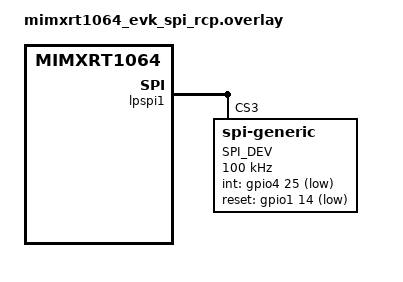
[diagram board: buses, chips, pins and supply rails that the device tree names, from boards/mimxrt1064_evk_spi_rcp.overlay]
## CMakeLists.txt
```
# SPDX-License-Identifier: Apache-2.0

cmake_minimum_required(VERSION 3.13.1)

find_package(Zephyr REQUIRED HINTS $ENV{ZEPHYR_BASE})
project(ot-host)

target_sources( app
    PRIVATE
        src/main.c
)

include(${ZEPHYR_BASE}/samples/net/common/common.cmake)

set(gen_dir ${ZEPHYR_BINARY_DIR}/include/generated/)
```

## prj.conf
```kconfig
CONFIG_NETWORKING=y
CONFIG_NET_L2_OPENTHREAD=y

# Disable certain parts of Zephyr IPv6 stack
CONFIG_NET_IPV6_NBR_CACHE=n
CONFIG_NET_IPV6_MLD=n

# Logging
CONFIG_LOG=y
CONFIG_BOOT_BANNER=n
CONFIG_OPENTHREAD_DEBUG=y
CONFIG_OPENTHREAD_LOG_LEVEL_INFO=y

CONFIG_DEBUG=y
CONFIG_SHELL=y
CONFIG_CONSOLE=y
CONFIG_UART_CONSOLE=y
CONFIG_SERIAL=y

# Kernel options
CONFIG_MAIN_STACK_SIZE=20480
CONFIG_INIT_STACKS=y

# Increase logging thread stack size due to Spinel backend needs
CONFIG_LOG_PROCESS_THREAD_STACK_SIZE=20480
CONFIG_SHELL_STACK_SIZE=10240

# Set OpenThread Host architecture
CONFIG_OPENTHREAD_HOSTPROCESSOR=y
CONFIG_OPENTHREAD_SHELL=y
CONFIG_OPENTHREAD_FTD=y

CONFIG_OPENTHREAD_HOSTPROCESSOR_SPINEL_ON_GENERIC_SPI_DEV_NAME="SPI_DEV"

CONFIG_SPI=y
CONFIG_SPI_MCUX_LPSPI=y
CONFIG_SPI_GENERIC=y
```

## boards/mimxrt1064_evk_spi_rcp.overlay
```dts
/*
 * Copyright (c) 2021 Basalte bv
 *
 * SPDX-License-Identifier: Apache-2.0
 */

&lpspi1 {
	status = "okay";
	pcs-sck-delay = <3000>;
	sck-pcs-delay = <3000>;
	transfer-delay = <1000>;

	spidev: spidev@3 {
		compatible = "zephyr,spi-generic";
		reg = <3>;
		label = "SPI_DEV";

		spi-max-frequency = <100000>;
		spi-bits-per-word = <8>;
		spi-bus-width = <1>;
		spi-cs-delay = <20>;

		int-gpios = <&gpio4 25 GPIO_ACTIVE_LOW>;
		reset-gpios = <&gpio1 14 GPIO_ACTIVE_LOW>;
		status = "okay";
	};
};
```

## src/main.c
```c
/* main.c - OpenThread Host */

/*
 * Copyright (c) 2021 Basalte bv
 *
 * SPDX-License-Identifier: Apache-2.0
 */

#include <logging/log.h>
LOG_MODULE_REGISTER(ot_host, LOG_LEVEL_DBG);

#include <zephyr.h>
#define APP_BANNER "***** OpenThread Host on Zephyr *****"

void main(void)
{
	LOG_INF(APP_BANNER);
}
```
